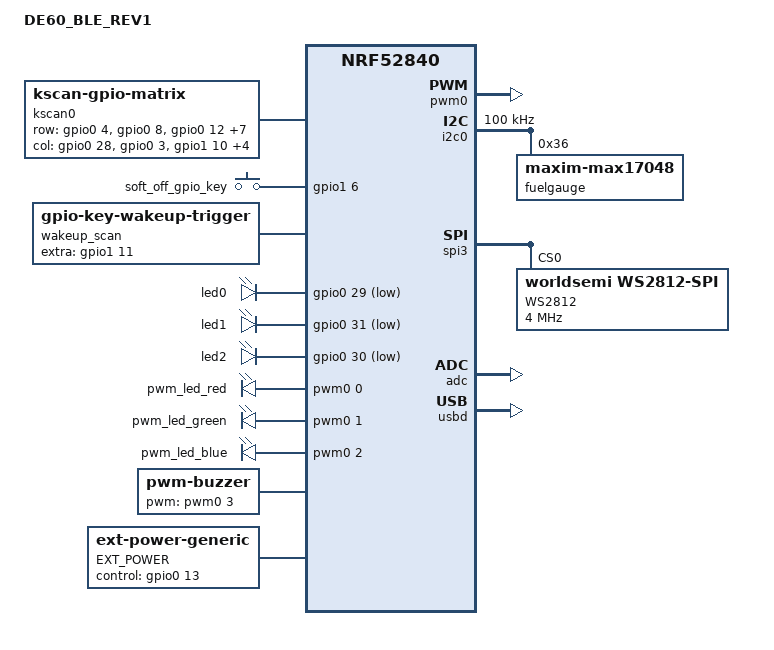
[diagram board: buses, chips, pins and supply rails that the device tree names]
/*
 * Copyright (c) 2025 Deemen17 Works
 *
 * SPDX-License-Identifier: MIT
 */

/dts-v1/;
#include <nordic/nrf52840_qiaa.dtsi>
#include <dt-bindings/led/led.h>

#include "de60_ble_rev1-pinctrl.dtsi"
#include "de60_ble_rev1-layouts.dtsi"
#include "de60_ble_rev1-transforms.dtsi"

/ {
    model = "DE60_BLE_REV1";
    compatible = "deemen17,de60_rev1", "nordic,nrf52840";

    chosen {
        zephyr,code-partition = &code_partition;
        zephyr,sram = &sram0;
        zephyr,flash = &flash0;
        zmk,kscan = &kscan0;
        zmk,underglow = &led_strip;
        zmk,battery = &fuelgauge;
        zmk,studio-rpc-uart = &cdc_acm_uart;
        // zephyr,console = &cdc_acm_uart;
    };

    kscan0: kscan {
        compatible = "zmk,kscan-gpio-matrix";
        wakeup-source;
        diode-direction = "col2row";
        row-gpios
            = <&gpio0 4  (GPIO_ACTIVE_HIGH | GPIO_PULL_DOWN)>
            , <&gpio0 8  (GPIO_ACTIVE_HIGH | GPIO_PULL_DOWN)>
            , <&gpio0 12 (GPIO_ACTIVE_HIGH | GPIO_PULL_DOWN)>
            , <&gpio0 7  (GPIO_ACTIVE_HIGH | GPIO_PULL_DOWN)>
            , <&gpio0 15 (GPIO_ACTIVE_HIGH | GPIO_PULL_DOWN)>
            , <&gpio0 17 (GPIO_ACTIVE_HIGH | GPIO_PULL_DOWN)>
            , <&gpio1 9  (GPIO_ACTIVE_HIGH | GPIO_PULL_DOWN)>
            , <&gpio0 5  (GPIO_ACTIVE_HIGH | GPIO_PULL_DOWN)>
            , <&gpio1 4  (GPIO_ACTIVE_HIGH | GPIO_PULL_DOWN)>
            , <&gpio1 6  (GPIO_ACTIVE_HIGH | GPIO_PULL_DOWN)>
            ;
        col-gpios
            = <&gpio0 28 GPIO_ACTIVE_HIGH>
            , <&gpio0 3  GPIO_ACTIVE_HIGH>
            , <&gpio1 10 GPIO_ACTIVE_HIGH>
            , <&gpio1 11 GPIO_ACTIVE_HIGH>
            , <&gpio0 6  GPIO_ACTIVE_HIGH>
            , <&gpio1 2  GPIO_ACTIVE_HIGH>
            , <&gpio0 22 GPIO_ACTIVE_HIGH>
            ;
    };


/* --- Wakeup after Soft-off using SPACE key --- */    
    keys {
        compatible = "gpio-keys";
        soft_off_gpio_key: soft_off_gpio_key {
            gpios = <&gpio1 6 (GPIO_ACTIVE_HIGH | GPIO_PULL_DOWN)>; // row9
        };
    };

    wakeup_scan: wakeup_scan {
        compatible = "zmk,gpio-key-wakeup-trigger";
        trigger = <&soft_off_gpio_key>;
        wakeup-source;
        extra-gpios = <&gpio1 11 GPIO_ACTIVE_HIGH>; // col3
    };

    soft_off_wakers {
        compatible = "zmk,soft-off-wakeup-sources";
        wakeup-sources = <&wakeup_scan>;
    };

    aliases {

        led-red = &led0;
        led-green = &led1;
        led-blue = &led2;

        pwm-led-red = &pwm_led_red;
		pwm-led-green = &pwm_led_green;
        pwm-led-blue = &pwm_led_blue;
        buzzer = &buzzer;
    };

    leds {
        compatible = "gpio-leds";
        status = "okay";
        led0: led_0 {
            gpios = <&gpio0 29 GPIO_ACTIVE_LOW>;  // red LED, connected to P0.29
        };
        led1: led_1 {
            gpios = <&gpio0 31 GPIO_ACTIVE_LOW>;  // green LED, connected to P0.31
        };
        led2: led_2 {
            gpios = <&gpio0 30 GPIO_ACTIVE_LOW>;  // blue LED, connected to P0.30
        };
    };

	pwmleds {
		compatible = "pwm-leds";
		pwm_led_red: led_r  {
			pwms = <&pwm0 0 10000 PWM_POLARITY_INVERTED>;
		};

		pwm_led_green: led_g  {
			pwms = <&pwm0 1 10000 PWM_POLARITY_INVERTED>;
		};

		pwm_led_blue: led_b  {
			pwms = <&pwm0 2 10000 PWM_POLARITY_INVERTED>;
		};
	};

    buzzer: pwm_buzzer {
        compatible = "pwm-buzzer";
		pwms = <&pwm0 3 1000 PWM_POLARITY_NORMAL>;
		//set status = "okay" to enable the buzzer
		// status = "disabled";
		status = "okay";
    };

    ext-power {
        compatible = "zmk,ext-power-generic";
        label = "EXT_POWER";
        control-gpios = <&gpio0 13 GPIO_ACTIVE_HIGH>;
    };

};

&pwm0 {
    status = "okay";
    pinctrl-0 = <&pwm0_default>;
    pinctrl-1 = <&pwm0_sleep>;
    pinctrl-names = "default", "sleep";
};

&i2c0 {
    status = "okay";
    compatible = "nordic,nrf-twim";
    pinctrl-0 = <&i2c0_default>;
    pinctrl-1 = <&i2c0_sleep>;
    pinctrl-names = "default", "sleep";
    clock-frequency = <100000>;

    fuelgauge: max17048@36 {
		compatible = "zmk,maxim-max17048";
		reg = <0x36>;
	};
};

&spi3 {
    compatible = "nordic,nrf-spim";

    pinctrl-0 = <&spi3_default>;
    pinctrl-1 = <&spi3_sleep>;
    pinctrl-names = "default", "sleep";
    status = "okay";

    led_strip: ws2812@0 {
        compatible = "worldsemi,ws2812-spi";
        label = "WS2812";

        /* SPI */
        reg = <0>; /* ignored, but necessary for SPI bindings */
        spi-max-frequency = <4000000>;

        /* WS2812 */
        chain-length = <26>; /* LED strip length */
        spi-one-frame = <0x70>;
        spi-zero-frame = <0x40>;
        color-mapping = <LED_COLOR_ID_GREEN LED_COLOR_ID_RED LED_COLOR_ID_BLUE>;
    };
};

&gpio0 {
    status = "okay";
};

&gpio1 {
    status = "okay";
};

&adc {
    status = "okay";
};

zephyr_udc0: &usbd {
    status = "okay";
};

&usbd {
    status = "okay";
    cdc_acm_uart: cdc_acm_uart {
        compatible = "zephyr,cdc-acm-uart";
    };
};

&flash0 {
    /*
     * For more information, see:
     * http://docs.zephyrproject.org/latest/devices/dts/flash_partitions.html
     */
    partitions {
        compatible = "fixed-partitions";
        #address-cells = <1>;
        #size-cells = <1>;

        sd_partition: partition@0 {
            label = "softdevice";
            reg = <0x00000000 0x00026000>;
        };
        code_partition: partition@26000 {
            label = "code_partition";
            reg = <0x00026000 0x000c6000>;
        };

        /*
         * The flash starting at 0x000ec000 and ending at
         * 0x000f3fff is reserved for use by the application.
         */

        /*
         * Storage partition will be used by FCB/LittleFS/NVS
         * if enabled.
         */
        storage_partition: partition@ec000 {
            label = "storage";
            reg = <0x000ec000 0x00008000>;
        };

        boot_partition: partition@f4000 {
            label = "adafruit_boot";
            reg = <0x000f4000 0x0000c000>;
        };
    };
};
